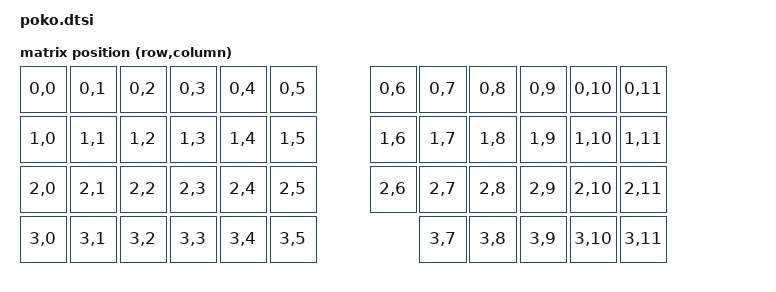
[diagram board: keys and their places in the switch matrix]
/*
 * poko (split-wireless) 共通定義
 *
 * ここに置くのは「基板のピン配置に依存しない部分」だけ。
 * 本番基板は左右で XIAO のピン割当が違う（left.kicad_pcb / right.kicad_pcb で確認）ため、
 * kscan は *_left.overlay / *_right.overlay がそれぞれ自前で定義する。
 * このファイルを include する前に kscan0 を定義しておくこと。
 *
 * 設計書: wireless-poko-design.md §4, §7 / 実装ノート: zmk-implementation-notes.md §3-§5
 */

#include <dt-bindings/zmk/matrix_transform.h>
#include <zephyr/dt-bindings/gpio/gpio.h>
#include <zephyr/dt-bindings/adc/adc.h>
#include <zephyr/dt-bindings/adc/nrf-adc.h>
#include <physical_layouts.dtsi>

/ {
    chosen {
        zmk,kscan = &kscan0;
        /*zmk,matrix-transform = &default_transform;
        */
        zmk,physical-layout = &poko_physical_layout;
        zmk,battery = &vbatt;
    };

    poko_physical_layout: poko_physical_layout {
      compatible = "zmk,physical-layout";
      display-name = "Default";

      /* kscan = <&kscan0>; */
      transform = <&default_transform>;

      keys  //                     w   h    x    y     rot    rx    ry
      = <&key_physical_attrs 100 100    0    0       0     0     0>
      , <&key_physical_attrs 100 100  100    0       0     0     0>
      , <&key_physical_attrs 100 100  200    0       0     0     0>
      , <&key_physical_attrs 100 100  300    0       0     0     0>
      , <&key_physical_attrs 100 100  400    0       0     0     0>
      , <&key_physical_attrs 100 100  500    0       0     0     0>
      , <&key_physical_attrs 100 100  700    0       0     0     0>
      , <&key_physical_attrs 100 100  800    0       0     0     0>
      , <&key_physical_attrs 100 100  900    0       0     0     0>
      , <&key_physical_attrs 100 100 1000    0       0     0     0>
      , <&key_physical_attrs 100 100 1100    0       0     0     0>
      , <&key_physical_attrs 100 100 1200    0       0     0     0>
      , <&key_physical_attrs 100 100    0  100       0     0     0>
      , <&key_physical_attrs 100 100  100  100       0     0     0>
      , <&key_physical_attrs 100 100  200  100       0     0     0>
      , <&key_physical_attrs 100 100  300  100       0     0     0>
      , <&key_physical_attrs 100 100  400  100       0     0     0>
      , <&key_physical_attrs 100 100  500  100       0     0     0>
      , <&key_physical_attrs 100 100  700  100       0     0     0>
      , <&key_physical_attrs 100 100  800  100       0     0     0>
      , <&key_physical_attrs 100 100  900  100       0     0     0>
      , <&key_physical_attrs 100 100 1000  100       0     0     0>
      , <&key_physical_attrs 100 100 1100  100       0     0     0>
      , <&key_physical_attrs 100 100 1200  100       0     0     0>
      , <&key_physical_attrs 100 100    0  200       0     0     0>
      , <&key_physical_attrs 100 100  100  200       0     0     0>
      , <&key_physical_attrs 100 100  200  200       0     0     0>
      , <&key_physical_attrs 100 100  300  200       0     0     0>
      , <&key_physical_attrs 100 100  400  200       0     0     0>
      , <&key_physical_attrs 100 100  500  200       0     0     0>
      , <&key_physical_attrs 100 100  700  200       0     0     0>
      , <&key_physical_attrs 100 100  800  200       0     0     0>
      , <&key_physical_attrs 100 100  900  200       0     0     0>
      , <&key_physical_attrs 100 100 1000  200       0     0     0>
      , <&key_physical_attrs 100 100 1100  200       0     0     0>
      , <&key_physical_attrs 100 100 1200  200       0     0     0>
      , <&key_physical_attrs 100 100    0  300       0     0     0>
      , <&key_physical_attrs 100 100  100  300       0     0     0>
      , <&key_physical_attrs 100 100  200  300       0     0     0>
      , <&key_physical_attrs 100 100  300  300       0     0     0>
      , <&key_physical_attrs 100 100  400  300       0     0     0>
      , <&key_physical_attrs 100 100  500  300       0     0     0>
      , <&key_physical_attrs 100 100  800  300       0     0     0>
      , <&key_physical_attrs 100 100  900  300       0     0     0>
      , <&key_physical_attrs 100 100 1000  300       0     0     0>
      , <&key_physical_attrs 100 100 1100  300       0     0     0>
      , <&key_physical_attrs 100 100 1200  300       0     0     0>
      ;
    };

    /*
     * 論理グリッド 4行 × 12列。左=列0-5 / 右=列6-11（右 overlay で col-offset=6）。
     * 右手の最下段・最内側 RC(3,6) がトラックボール位置なので map から省く。
     *   → 総キー数 47（左24 + 右23）。QMK 版 keymap.c の row3 index6 = KC_NO と一致。
     *
     * 本番基板でも裏取り済み: 右基板だけスイッチが23個で、欠番の SW19 は
     * ROW3/COL0 の位置。col-offset=6 を通すと RC(3,6) に落ちるので map はこのままでよい。
     *
     * バインド順は下の map の並び順そのまま。row0=12 / row1=12 / row2=12 / row3=11。
     */
    default_transform: keymap_transform_0 {
        compatible = "zmk,matrix-transform";
        columns = <12>;
        rows = <4>;
        //          左手 (col 0-5)                            右手 (col 6-11)
        map = <
RC(0,0) RC(0,1) RC(0,2) RC(0,3) RC(0,4) RC(0,5)   RC(0,6) RC(0,7) RC(0,8) RC(0,9) RC(0,10) RC(0,11)
RC(1,0) RC(1,1) RC(1,2) RC(1,3) RC(1,4) RC(1,5)   RC(1,6) RC(1,7) RC(1,8) RC(1,9) RC(1,10) RC(1,11)
RC(2,0) RC(2,1) RC(2,2) RC(2,3) RC(2,4) RC(2,5)   RC(2,6) RC(2,7) RC(2,8) RC(2,9) RC(2,10) RC(2,11)
RC(3,0) RC(3,1) RC(3,2) RC(3,3) RC(3,4) RC(3,5)           RC(3,7) RC(3,8) RC(3,9) RC(3,10) RC(3,11)
        >;                                     /* ↑ RC(3,6) = トラックボール */
    };
};

/*
 * 電池監視なし。
 * 本番基板は部品配置の都合で電池電圧の監視回路を載せていない（試作の A0 + 外部分圧は廃止）。
 * ボード標準の vbatt は XIAO モジュール内蔵の分圧（P0.31 / P0.14）で、xiao_ble.dts 側に
 * chosen zmk,battery = &vbatt が生きている。放っておくと載せていない前提のノードが
 * 有効なまま残るので明示的に殺す。CONFIG_ZMK_BATTERY_REPORTING も左右とも n。
 */
&vbatt {
    status = "disabled";
};
